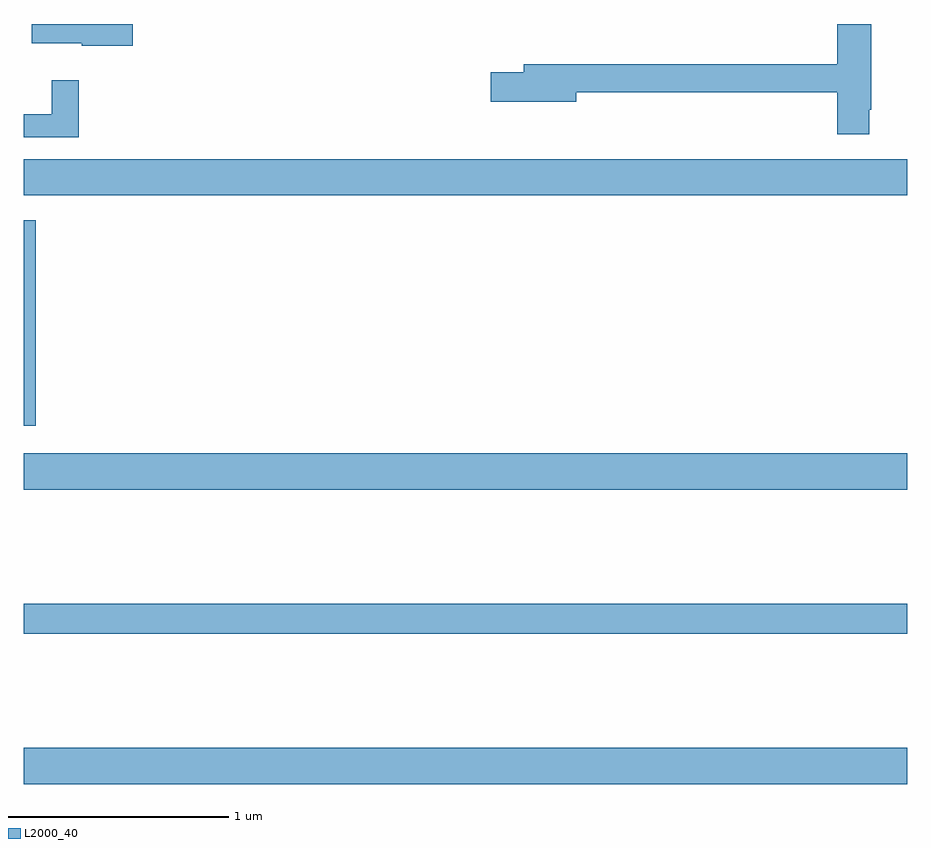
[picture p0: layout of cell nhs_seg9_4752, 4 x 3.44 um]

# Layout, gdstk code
import gdstk
lib = gdstk.Library(unit=1e-6, precision=1e-09)
def R(c, l, rs):  # rectangles x0, y0, x1, y1
    for r in rs: c.add(gdstk.rectangle(r[:2], r[2:], *l))
def A(c, l, x, y, w, h, nx, ny, dx, dy):  # array of equal rectangles
    R(c, l, [(x+i*dx, y+j*dy, x+i*dx+w, y+j*dy+h) for i in range(nx) for j in range(ny)])
def P(c, l, *ps):  # polygons
    for p in ps: c.add(gdstk.Polygon(p, *l))
L2000_40 = (2000, 40)

nhs_seg9_4752 = lib.new_cell('nhs_seg9_4752')
A(nhs_seg9_4752, L2000_40, 385, 1223.06, 4, 0.164, 1, 3, 0, 1.332)
R(nhs_seg9_4752, L2000_40, [(385,1223.74,389,1223.876), (385,1224.681,385.055,1225.612)])
P(nhs_seg9_4752, L2000_40, [(388.828,1226.113),(388.836,1226.113),(388.836,1226.5),(388.682,1226.5),(388.682,1226.318),(387.263,1226.318),(387.263,1226.282),(387.114,1226.282),(387.114,1226.147),(387.502,1226.147),(387.502,1226.19),(388.682,1226.19),(388.682,1226.001),(388.828,1226.001)],
  [(385.495,1226.5),(385.037,1226.5),(385.037,1226.414),(385.263,1226.414),(385.263,1226.402),(385.495,1226.402)],
  [(385.249,1226.245),(385.127,1226.245),(385.127,1226.092),(385,1226.092),(385,1225.988),(385.249,1225.988)])

lib.write_gds('nhs_seg9_4752.gds')
